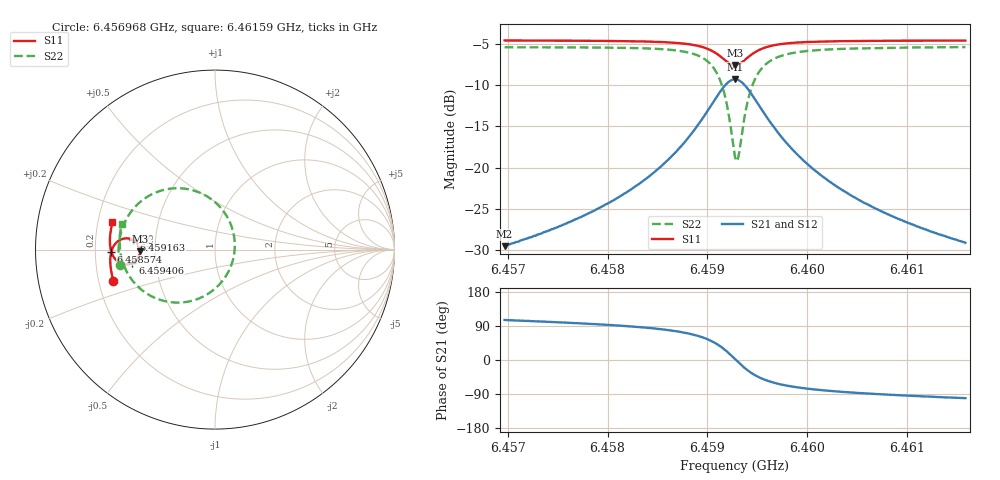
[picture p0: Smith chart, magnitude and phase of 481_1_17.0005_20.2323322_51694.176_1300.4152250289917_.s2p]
#  HZ  S  RI  R  50.00
! Rohde & Schwarz Vector Network Analyzer
! Rohde-Schwarz,ZNB20-2Port,1311601062101988,3.16
! Created: UTC 3/20/2024, 11:13:40 PM
! freq[Hz]  re:S11  im:S11  re:S21  im:S21  re:S12  im:S12  re:S22  im:S22
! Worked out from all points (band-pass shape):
!   401 points, 6.456968 GHz to 6.46159 GHz, reference 50 ohm
!   highest |S21| = -9.27 dB at 6.459279 GHz (marker M1); lowest = -29.5 dB at 6.456968 GHz (marker M2)
!   |S21| within 3 dB of the highest: 6.459048 GHz to 6.45951 GHz (461.8 kHz wide, 0.00715 % of centre)
!   lowest |S11| = -7.6 dB at 6.459279 GHz (marker M3), VSWR 2.44, Z = 20.5 - j0.494 ohm
!   |S11| at or under -10 dB: nowhere
!   |S22| runs from -19.2 to -5.4 dB; largest |S21 - S12| = 0.013
!   S11 on the Smith chart (normalised r, x): 6.456968 GHz: 0.26, -0.14; 6.458574 GHz: 0.27, -0.01; 6.459163 GHz: 0.37, +0.05; 6.459406 GHz: 0.37, -0.07; 6.46159 GHz: 0.26, +0.12
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6.4569679e9  -0.5664 -0.1728  -0.00896 0.0321  -0.00715 0.0323  -0.5315 -0.0856
6.4577421e9  -0.5807 -0.1052  -0.00555 0.0501  -0.00311 0.0495  -0.537 0.00454
6.4582042e9  -0.5837 -0.0587  0.00109 0.0717  0.00433 0.0702  -0.5277 0.0784
6.4585162e9  -0.5798 -0.0211  0.014 0.0982  0.018 0.0955  -0.5041 0.1496
6.458574e9  -0.578 -0.0133  0.0183 0.1051  0.0223 0.102  -0.4961 0.1662
6.4587819e9  -0.5651 0.0188  0.0456 0.1374  0.0498 0.1325  -0.4447 0.2386
6.4589321e9  -0.5426 0.0451  0.0906 0.1677  0.0939 0.161  -0.3619 0.303
6.4590708e9  -0.4991 0.0628  0.1772 0.1844  0.1783 0.1771  -0.2034 0.3421
6.4591632e9  -0.4548 0.0527  0.2667 0.1537  0.267 0.1476  -0.0377 0.2926
6.4592094e9  -0.4337 0.0339  0.3102 0.111  0.3115 0.1056  0.0452 0.2167
6.4592788e9  -0.4189 -0.00994  0.3436 0.0146  0.3473 0.0076  0.11 0.0378
6.4592903e9  -0.4193 -0.0179  0.3436 -0.0032  0.3473 -0.0107  0.1099 0.00421
6.4593134e9  -0.4228 -0.0334  0.338 -0.0377  0.3419 -0.0468  0.0991 -0.0612
6.4593596e9  -0.4383 -0.0593  0.3098 -0.0972  0.3119 -0.1092  0.0418 -0.1742
6.4594059e9  -0.4602 -0.0756  0.268 -0.1385  0.2671 -0.1515  -0.0426 -0.2489
6.4594983e9  -0.5034 -0.0824  0.1836 -0.1697  0.1773 -0.181  -0.2107 -0.2952
6.4596485e9  -0.547 -0.062  0.096 -0.1559  0.0874 -0.1621  -0.3778 -0.2462
6.4598103e9  -0.5684 -0.0343  0.0511 -0.1281  0.0436 -0.1309  -0.4582 -0.1744
6.4600529e9  -0.5811 0.0013  0.0223 -0.0966  0.0163 -0.0973  -0.5061 -0.092
6.460388e9  -0.5855 0.0412  0.00658 -0.0707  0.00247 -0.0702  -0.5271 -0.0154
6.460827e9  -0.5836 0.0852  -0.00147 -0.0516  -0.00431 -0.0507  -0.5316 0.055
6.4615896e9  -0.5711 0.1527  -0.00651 -0.0343  -0.0082 -0.0335  -0.5202 0.1447
